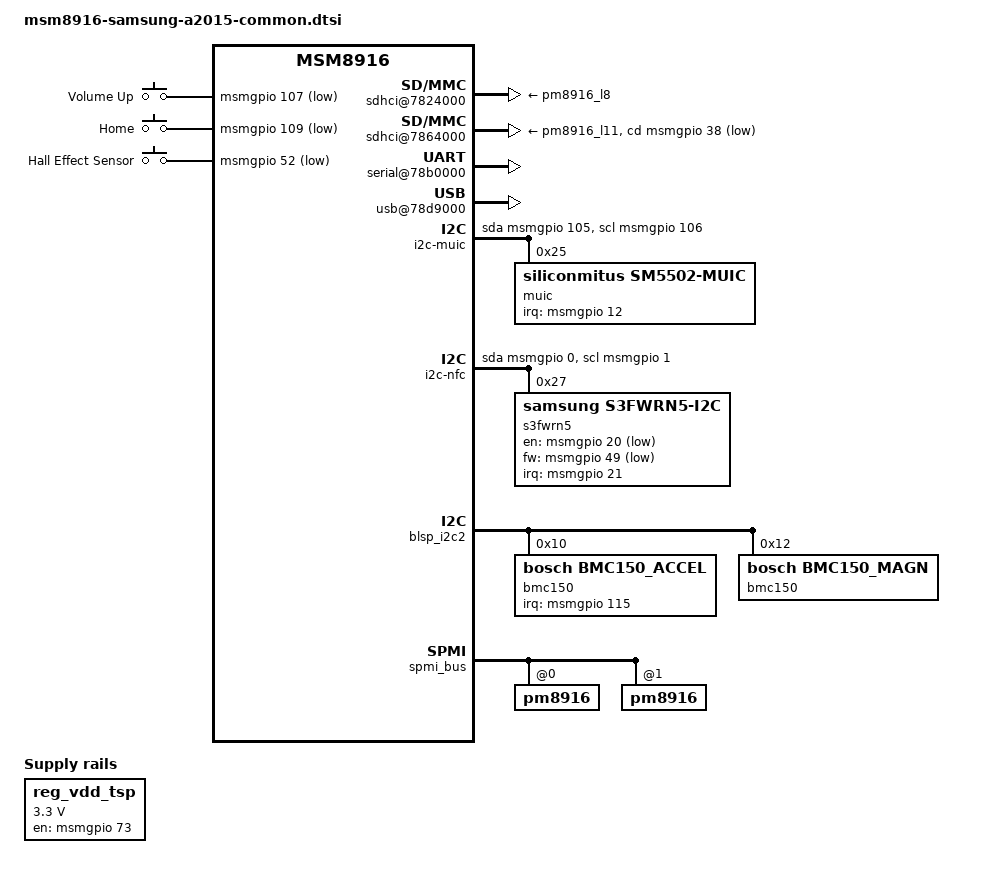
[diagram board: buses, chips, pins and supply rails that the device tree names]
// SPDX-License-Identifier: GPL-2.0-only

#include "msm8916.dtsi"
#include "pm8916.dtsi"
#include "arm/qcom-msm8916-no-psci.dtsi"
#include <dt-bindings/gpio/gpio.h>
#include <dt-bindings/input/input.h>
#include <dt-bindings/interrupt-controller/irq.h>
#include <dt-bindings/sound/apq8016-lpass.h>

/ {
	aliases {
		serial0 = &blsp1_uart2;
	};

	chosen {
		stdout-path = "serial0";
	};

	soc {
		sdhci@7824000 {
			status = "okay";

			vmmc-supply = <&pm8916_l8>;
			vqmmc-supply = <&pm8916_l5>;

			pinctrl-names = "default", "sleep";
			pinctrl-0 = <&sdc1_clk_on &sdc1_cmd_on &sdc1_data_on>;
			pinctrl-1 = <&sdc1_clk_off &sdc1_cmd_off &sdc1_data_off>;
		};

		sdhci@7864000 {
			status = "okay";

			vmmc-supply = <&pm8916_l11>;
			vqmmc-supply = <&pm8916_l12>;

			pinctrl-names = "default", "sleep";
			pinctrl-0 = <&sdc2_clk_on &sdc2_cmd_on &sdc2_data_on &sdc2_cd_on>;
			pinctrl-1 = <&sdc2_clk_off &sdc2_cmd_off &sdc2_data_off &sdc2_cd_off>;

			cd-gpios = <&msmgpio 38 GPIO_ACTIVE_LOW>;
		};

		serial@78b0000 {
			status = "okay";
			pinctrl-names = "default", "sleep";
			pinctrl-0 = <&blsp1_uart2_default>;
			pinctrl-1 = <&blsp1_uart2_sleep>;
		};

		usb@78d9000 {
			status = "okay";
			extcon = <&muic>, <&muic>;

			hnp-disable;
			srp-disable;
			adp-disable;

			ulpi {
				phy {
					extcon = <&muic>;
					v1p8-supply = <&pm8916_l7>;
					v3p3-supply = <&pm8916_l13>;
				};
			};
		};

		lpass@7708000 {
			status = "okay";
		};

		sound {
			compatible = "qcom,apq8016-sbc-sndcard";
			reg = <0x07702000 0x4>, <0x07702004 0x4>;
			reg-names = "mic-iomux", "spkr-iomux";

			pinctrl-names = "default", "sleep";
			pinctrl-0 = <&cdc_pdm_lines_act>;
			pinctrl-1 = <&cdc_pdm_lines_sus>;

			qcom,model = "msm8916-samsung-a2015";
			qcom,audio-routing =
				"AMIC1", "MIC BIAS External1",
				"AMIC2", "MIC BIAS Internal2",
				"AMIC3", "MIC BIAS External1";

			internal-codec-playback-dai-link@0 {
				link-name = "WCD";
				cpu {
					sound-dai = <&lpass MI2S_PRIMARY>;
				};
				codec {
					sound-dai = <&lpass_codec 0>, <&wcd_codec 0>;
				};
			};

			internal-codec-capture-dai-link@0 {
				link-name = "WCD-Capture";
				cpu {
					sound-dai = <&lpass MI2S_TERTIARY>;
				};
				codec {
					sound-dai = <&lpass_codec 1>, <&wcd_codec 1>;
				};
			};
		};

		wcnss@a21b000 {
			status = "okay";
		};

		mdss@1a00000 {
			dsi@1a98000 {
				#address-cells = <1>;
				#size-cells = <0>;

				vdda-supply = <&pm8916_l2>;
				vddio-supply = <&pm8916_l6>;

				pinctrl-names = "default", "sleep";
				pinctrl-0 = <&pmx_mdss_default>;
				pinctrl-1 = <&pmx_mdss_sleep>;
			};

			dsi-phy@1a98300 {
				vddio-supply = <&pm8916_l6>;
			};
		};

		/*
		 * Attempting to enable these devices causes a "synchronous
		 * external abort". Suspected cause is that the debug power
		 * domain is not enabled by default on this device.
		 * Disable these devices for now to avoid the crash.
		 *
		 * See: https://lore.kernel.org/linux-arm-msm/20190618202623.GA53651@gerhold.net/
		 */
		tpiu@820000 { status = "disabled"; };
		funnel@821000 { status = "disabled"; };
		replicator@824000 { status = "disabled"; };
		etf@825000 { status = "disabled"; };
		etr@826000 { status = "disabled"; };
		funnel@841000 { status = "disabled"; };
		debug@850000 { status = "disabled"; };
		debug@852000 { status = "disabled"; };
		debug@854000 { status = "disabled"; };
		debug@856000 { status = "disabled"; };
		etm@85c000 { status = "disabled"; };
		etm@85d000 { status = "disabled"; };
		etm@85e000 { status = "disabled"; };
		etm@85f000 { status = "disabled"; };
	};

	gpio-keys {
		compatible = "gpio-keys";

		pinctrl-names = "default";
		pinctrl-0 = <&gpio_keys_default>;

		label = "GPIO Buttons";

		volume-up {
			label = "Volume Up";
			gpios = <&msmgpio 107 GPIO_ACTIVE_LOW>;
			linux,code = <KEY_VOLUMEUP>;
		};

		home {
			label = "Home";
			gpios = <&msmgpio 109 GPIO_ACTIVE_LOW>;
			linux,code = <KEY_HOMEPAGE>;
		};
	};

	gpio-hall-sensor {
		compatible = "gpio-keys";

		pinctrl-names = "default";
		pinctrl-0 = <&gpio_hall_sensor_default>;

		label = "GPIO Hall Effect Sensor";

		hall-sensor {
			label = "Hall Effect Sensor";
			gpios = <&msmgpio 52 GPIO_ACTIVE_LOW>;
			linux,input-type = <EV_SW>;
			linux,code = <SW_LID>;
			linux,can-disable;
		};
	};

	reg_vdd_tsp: regulator-vdd-tsp {
		compatible = "regulator-fixed";
		regulator-name = "vdd_tsp";
		regulator-min-microvolt = <3300000>;
		regulator-max-microvolt = <3300000>;

		gpio = <&msmgpio 73 0>;
		enable-active-high;

		pinctrl-names = "default";
		pinctrl-0 = <&tsp_en_default>;
	};

	i2c-muic {
		compatible = "i2c-gpio";
		sda-gpios = <&msmgpio 105 (GPIO_ACTIVE_HIGH|GPIO_OPEN_DRAIN)>;
		scl-gpios = <&msmgpio 106 (GPIO_ACTIVE_HIGH|GPIO_OPEN_DRAIN)>;

		#address-cells = <1>;
		#size-cells = <0>;

		muic: sm5502@25 {
			compatible = "siliconmitus,sm5502-muic";

			reg = <0x25>;
			interrupt-parent = <&msmgpio>;
			interrupts = <12 IRQ_TYPE_EDGE_FALLING>;

			pinctrl-names = "default";
			pinctrl-0 = <&muic_int_default>;
		};
	};

	i2c-nfc {
		compatible = "i2c-gpio";
		sda-gpios = <&msmgpio 0 (GPIO_ACTIVE_HIGH|GPIO_OPEN_DRAIN)>;
		scl-gpios = <&msmgpio 1 (GPIO_ACTIVE_HIGH|GPIO_OPEN_DRAIN)>;

		#address-cells = <1>;
		#size-cells = <0>;

		s3fwrn5@27 {
			compatible = "samsung,s3fwrn5-i2c";

			reg = <0x27>;
			interrupt-parent = <&msmgpio>;
			interrupts = <21 IRQ_TYPE_EDGE_RISING>;

			s3fwrn5,en-gpios = <&msmgpio 20 GPIO_ACTIVE_LOW>;
			s3fwrn5,fw-gpios = <&msmgpio 49 GPIO_ACTIVE_LOW>;

			pinctrl-names = "default";
			pinctrl-0 = <&nfc_default &nfc_int_default &nfc_fw_default>;
		};
	};
};

&blsp_i2c2 {
	status = "okay";

	bmc150@10 {
		compatible = "bosch,bmc150_accel";
		reg = <0x10>;
		interrupt-parent = <&msmgpio>;
		interrupts = <115 IRQ_TYPE_EDGE_RISING>;
	};

	bmc150@12 {
		compatible = "bosch,bmc150_magn";
		reg = <0x12>;
	};
};

&msmgpio {
	gpio_keys_default: gpio_keys_default {
		pinmux {
			function = "gpio";
			pins = "gpio107", "gpio109";
		};
		pinconf {
			pins = "gpio107", "gpio109";
			drive-strength = <2>;
			bias-pull-up;
		};
	};

	gpio_hall_sensor_default: gpio_hall_sensor_default {
		pinmux {
			function = "gpio";
			pins = "gpio52";
		};
		pinconf {
			pins = "gpio52";
			drive-strength = <2>;
			bias-disable;
		};
	};

	jack_default: jack_default {
		pinmux {
			function = "gpio";
			pins = "gpio110";
		};
		pinconf {
			pins = "gpio110";
			drive-strength = <2>;
			bias-disable;
		};
	};

	muic_int_default: muic_int_default {
		pinmux {
			function = "gpio";
			pins = "gpio12";
		};
		pinconf {
			pins = "gpio12";
			drive-strength = <2>;
			bias-disable;
		};
	};

	nfc_default: nfc_default {
		pinmux {
			function = "gpio";
			pins = "gpio0", "gpio1", "gpio20";
		};
		pinconf {
			pins = "gpio0", "gpio1", "gpio20";
			drive-strength = <2>;
			bias-disable;
		};
	};

	nfc_int_default: nfc_int_default {
		pinmux {
			function = "gpio";
			pins = "gpio21";
		};
		pinconf {
			pins = "gpio21";
			drive-strength = <2>;
			bias-pull-down;
		};
	};

	nfc_fw_default: nfc_fw_default {
		pinmux {
			function = "gpio";
			pins = "gpio49";
		};
		pinconf {
			pins = "gpio49";
			drive-strength = <2>;
			bias-pull-down;
		};
	};

	pmx_mdss_default: pmx_mdss_default {
		pinmux {
			function = "gpio";
			pins = "gpio25";
		};
		pinconf {
			pins = "gpio25";
			drive-strength = <8>;
			bias-disable;
		};
	};

	pmx_mdss_sleep: pmx_mdss_sleep {
		pinmux {
			function = "gpio";
			pins = "gpio25";
		};
		pinconf {
			pins = "gpio25";
			drive-strength = <2>;
			bias-pull-down;
		};
	};

	tsp_en_default: tsp_en_default {
		pinmux {
			function = "gpio";
			pins = "gpio73";
		};
		pinconf {
			pins = "gpio73";
			drive-strength = <2>;
			bias-disable;
		};
	};
};

&smd_rpm_regulators {
	vdd_l1_l2_l3-supply = <&pm8916_s3>;
	vdd_l4_l5_l6-supply = <&pm8916_s4>;
	vdd_l7-supply = <&pm8916_s4>;

	s1 {
		regulator-min-microvolt = <500000>;
		regulator-max-microvolt = <1300000>;
	};

	s3 {
		regulator-min-microvolt = <1200000>;
		regulator-max-microvolt = <1300000>;
	};

	s4 {
		regulator-min-microvolt = <1800000>;
		regulator-max-microvolt = <2100000>;
	};

	l1 {
		regulator-min-microvolt = <1225000>;
		regulator-max-microvolt = <1225000>;
	};

	l2 {
		regulator-min-microvolt = <1200000>;
		regulator-max-microvolt = <1200000>;
	};

	l3 {
		regulator-min-microvolt = <500000>;
		regulator-max-microvolt = <1287500>;
	};

	l4 {
		regulator-min-microvolt = <2050000>;
		regulator-max-microvolt = <2050000>;
	};

	l5 {
		regulator-min-microvolt = <1800000>;
		regulator-max-microvolt = <1800000>;
	};

	l6 {
		regulator-min-microvolt = <1800000>;
		regulator-max-microvolt = <1800000>;
	};

	l7 {
		regulator-min-microvolt = <1800000>;
		regulator-max-microvolt = <1800000>;
	};

	l8 {
		regulator-min-microvolt = <2850000>;
		regulator-max-microvolt = <2900000>;
	};

	l9 {
		regulator-min-microvolt = <3300000>;
		regulator-max-microvolt = <3300000>;
	};

	l10 {
		regulator-min-microvolt = <2700000>;
		regulator-max-microvolt = <2800000>;
	};

	l11 {
		regulator-min-microvolt = <1800000>;
		regulator-max-microvolt = <2950000>;
		regulator-allow-set-load;
		regulator-system-load = <200000>;
	};

	l12 {
		regulator-min-microvolt = <1800000>;
		regulator-max-microvolt = <2950000>;
	};

	l13 {
		regulator-min-microvolt = <3075000>;
		regulator-max-microvolt = <3075000>;
	};

	l14 {
		regulator-min-microvolt = <1800000>;
		regulator-max-microvolt = <3300000>;
	};

	l15 {
		regulator-min-microvolt = <1800000>;
		regulator-max-microvolt = <3300000>;
	};

	l16 {
		regulator-min-microvolt = <1800000>;
		regulator-max-microvolt = <3300000>;
	};

	l17 {
		regulator-min-microvolt = <2850000>;
		regulator-max-microvolt = <2850000>;
	};

	l18 {
		regulator-min-microvolt = <2700000>;
		regulator-max-microvolt = <2700000>;
	};
};

&spmi_bus {
	pm8916@0 {
		pon@800 {
			volume-down {
				compatible = "qcom,pm8941-resin";
				interrupts = <0x0 0x8 1 IRQ_TYPE_EDGE_BOTH>;
				bias-pull-up;
				linux,code = <KEY_VOLUMEDOWN>;
			};
		};
	};
	pm8916@1 {
		codec@f000 {
			jack-gpios = <&msmgpio 110 GPIO_ACTIVE_LOW>;
			qcom,micbias-lvl = <2800>;
			qcom,mbhc-vthreshold-low = <75 150 237 450 500>;
			qcom,mbhc-vthreshold-high = <75 150 237 450 500>;

			pinctrl-names = "default";
			pinctrl-0 = <&jack_default>;
		};
	};
};
